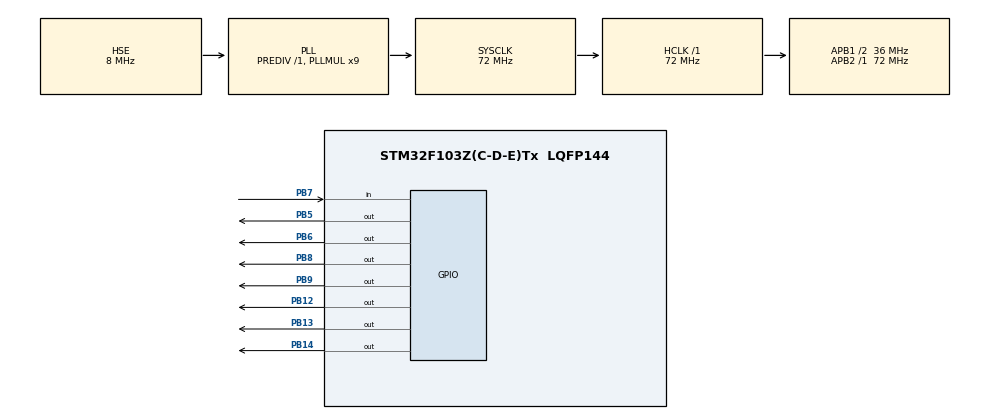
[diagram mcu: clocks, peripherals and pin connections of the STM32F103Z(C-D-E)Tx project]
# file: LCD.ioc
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Mcu.Family=STM32F1
Mcu.Name=STM32F103Z(C-D-E)Tx
Mcu.Package=LQFP144
NVIC.PriorityGroup=NVIC_PRIORITYGROUP_4
OSC_IN.Mode=HSE-External-Oscillator
OSC_IN.Signal=RCC_OSC_IN
OSC_OUT.Mode=HSE-External-Oscillator
OSC_OUT.Signal=RCC_OSC_OUT
PA13.Mode=Serial_Wire
PA13.Signal=SYS_JTMS-SWDIO
PA14.Mode=Serial_Wire
PA14.Signal=SYS_JTCK-SWCLK
PB12.GPIO_Speed=GPIO_SPEED_FREQ_HIGH
PB12.Signal=GPIO_Output
PB13.GPIO_Speed=GPIO_SPEED_FREQ_HIGH
PB13.Signal=GPIO_Output
PB14.GPIO_Speed=GPIO_SPEED_FREQ_HIGH
PB14.Signal=GPIO_Output
PB5.GPIO_Speed=GPIO_SPEED_FREQ_HIGH
PB5.Signal=GPIO_Output
PB6.GPIO_Speed=GPIO_SPEED_FREQ_HIGH
PB6.PinState=GPIO_PIN_RESET
PB6.Signal=GPIO_Output
PB7.GPIO_PuPd=GPIO_PULLUP
PB7.Signal=GPIO_Input
PB8.GPIO_Speed=GPIO_SPEED_FREQ_HIGH
PB8.Signal=GPIO_Output
PB9.GPIO_Speed=GPIO_SPEED_FREQ_HIGH
PB9.Signal=GPIO_Output
ProjectManager.HeapSize=0x200
ProjectManager.StackSize=0x400
ProjectManager.TargetToolchain=MDK-ARM V5
RCC.AHBFreq_Value=72000000
RCC.APB1CLKDivider=RCC_HCLK_DIV2
RCC.APB1Freq_Value=36000000
RCC.APB1TimFreq_Value=72000000
RCC.APB2Freq_Value=72000000
RCC.APB2TimFreq_Value=72000000
RCC.HCLKFreq_Value=72000000
RCC.PLLMUL=RCC_PLL_MUL9
RCC.PLLSourceVirtual=RCC_PLLSOURCE_HSE
RCC.SYSCLKFreq_VALUE=72000000
RCC.SYSCLKSource=RCC_SYSCLKSOURCE_PLLCLK
RCC.USBFreq_Value=72000000
board=custom

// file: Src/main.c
/* USER CODE BEGIN Header */
/**
  ******************************************************************************
  * @file           : main.c
  * @brief          : Main program body
  ******************************************************************************
  * @attention
  *
  * Copyright (c) 2023 STMicroelectronics.
  * All rights reserved.
  *
  * This software is licensed under terms that can be found in the LICENSE file
  * in the root directory of this software component.
  * If no LICENSE file comes with this software, it is provided AS-IS.
  *
  ******************************************************************************
  */
/* USER CODE END Header */
#include "main.h"
#include "gpio.h"

/* USER CODE BEGIN Includes */
#include "lcd.h"
//#include "lcd.c"
/* USER CODE END Includes */

/* USER CODE BEGIN PTD */
extern const unsigned char  *point;
extern const unsigned char  Character_Tab[];

/* USER CODE END PTD */

/* USER CODE BEGIN PM */
int i;
/* USER CODE END PM */

void SystemClock_Config(void);

int main(void)
{

  /* MCU Configuration--------------------------------------------------------*/

  /* Reset of all peripherals, Initializes the Flash interface and the Systick. */
  HAL_Init();

  /* Configure the system clock */
  SystemClock_Config();

  /* Initialize all configured peripherals */
  MX_GPIO_Init();
  /* USER CODE BEGIN 2 */
	point= &Character_Tab[0];
	SPI_SCK_0;
	SPI_RST_0;
	BL_1;
	HAL_Delay(1000);
	SPI_RST_1;
	HAL_Delay(1000);
	LCD_init();
	LCD_full();
	HAL_Delay(500);
	LCD_clear();
	Picture_display(point);
  /* USER CODE END 2 */

  /* Infinite loop */
  /* USER CODE BEGIN WHILE */
  while (1)
  {
    Temperature_Data_Output(i++);
		Humidity_Data_Output(i);
		HAL_Delay(1000);
    /* USER CODE END WHILE */

  }
}

void SystemClock_Config(void)
{
  RCC_OscInitTypeDef RCC_OscInitStruct = {0};
  RCC_ClkInitTypeDef RCC_ClkInitStruct = {0};

  /** Initializes the RCC Oscillators according to the specified parameters
  * in the RCC_OscInitTypeDef structure.
  */
  RCC_OscInitStruct.OscillatorType = RCC_OSCILLATORTYPE_HSE;
  RCC_OscInitStruct.HSEState = RCC_HSE_ON;
  RCC_OscInitStruct.HSEPredivValue = RCC_HSE_PREDIV_DIV1;
  RCC_OscInitStruct.HSIState = RCC_HSI_ON;
  RCC_OscInitStruct.PLL.PLLState = RCC_PLL_ON;
  RCC_OscInitStruct.PLL.PLLSource = RCC_PLLSOURCE_HSE;
  RCC_OscInitStruct.PLL.PLLMUL = RCC_PLL_MUL9;
  if (HAL_RCC_OscConfig(&RCC_OscInitStruct) != HAL_OK)
  {
    Error_Handler();
  }

  /** Initializes the CPU, AHB and APB buses clocks
  */
  RCC_ClkInitStruct.ClockType = RCC_CLOCKTYPE_HCLK|RCC_CLOCKTYPE_SYSCLK
                              |RCC_CLOCKTYPE_PCLK1|RCC_CLOCKTYPE_PCLK2;
  RCC_ClkInitStruct.SYSCLKSource = RCC_SYSCLKSOURCE_PLLCLK;
  RCC_ClkInitStruct.AHBCLKDivider = RCC_SYSCLK_DIV1;
  RCC_ClkInitStruct.APB1CLKDivider = RCC_HCLK_DIV2;
  RCC_ClkInitStruct.APB2CLKDivider = RCC_HCLK_DIV1;

  if (HAL_RCC_ClockConfig(&RCC_ClkInitStruct, FLASH_LATENCY_2) != HAL_OK)
  {
    Error_Handler();
  }
}

void Error_Handler(void)
{
  __disable_irq();
  while (1)
  {
  }
}
